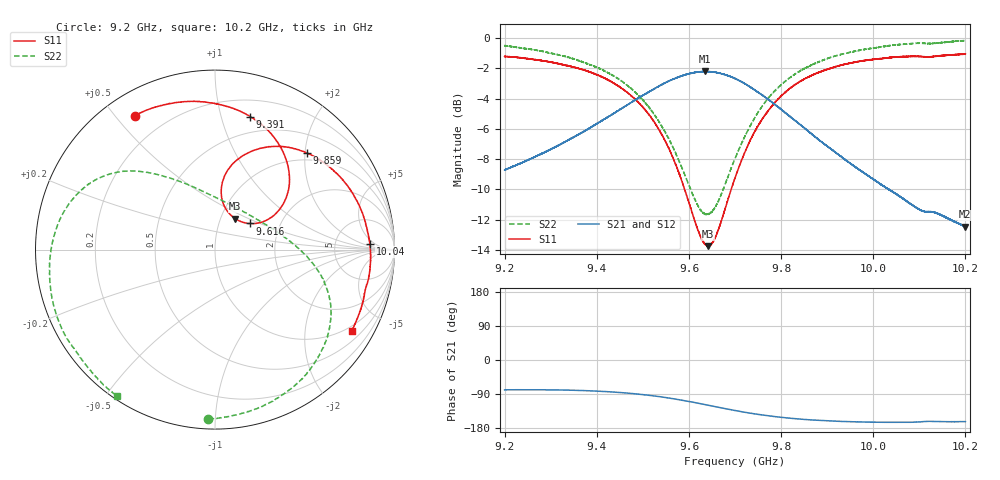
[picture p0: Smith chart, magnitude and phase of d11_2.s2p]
!Agilent Technologies,N5242A,MY51221714,A.09.90.19
!Agilent N5242A: A.09.90.19
!Date: Saturday, March 16, 2024 08:49:34
!Correction: S11(Full 2 Port(1,2))
!S21(Full 2 Port(1,2))
!S12(Full 2 Port(1,2))
!S22(Full 2 Port(1,2))
!S2P File: Measurements: S11, S21, S12, S22:
# Hz S  dB  R 50
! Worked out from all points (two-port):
!   16001 points, 9.2 GHz to 10.2 GHz, reference 50 ohm
!   highest |S21| = -2.20 dB at 9.635 GHz (marker M1); lowest = -12.5 dB at 10.2 GHz (marker M2)
!   |S21| within 3 dB of the highest: 9.425 GHz to 9.82 GHz (394.9 MHz wide, 4.1 % of centre); 9.819916 GHz to 9.819973 GHz (56.99 kHz wide, 0.00058 % of centre)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
!   lowest |S11| = -13.7 dB at 9.642 GHz (marker M3), VSWR 1.52, Z = 58.6 + j21.1 ohm
!   |S11| at or under -10 dB: 9.591 GHz to 9.692 GHz (100.9 MHz wide, 1.05 % of centre)
!   |S22| runs from -11.7 to -0.2 dB; largest |S21 - S12| = 0.0075
!   S11 on the Smith chart (normalised r, x): 9.2 GHz: 0.09, +0.56; 9.391 GHz: 0.35, +1.24; 9.616 GHz: 1.40, +0.43; 9.859 GHz: 0.85, +2.05; 10.04 GHz: 13, +3; 10.2 GHz: 0.82, -3.45
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9.2e9  -1.21 120.8  -8.71 -78.8  -8.71 -79.2  -0.49 -92.2
9.277688e9  -1.47 103.0  -7.67 -78.6  -7.66 -79.1  -0.85 -71.0
9.366688e9  -2.07 81.4  -6.26 -80.6  -6.24 -81.0  -1.53 -47.8
9.390562e9  -2.32 75.2  -5.83 -81.6  -5.82 -82.0  -1.82 -41.7
9.468812e9  -3.66 54.1  -4.37 -87.6  -4.36 -88.0  -3.18 -23.0
9.533375e9  -5.96 37.1  -3.20 -96.2  -3.20 -96.6  -5.43 -6.5
9.578438e9  -8.94 29.7  -2.56 -104.7  -2.55 -105.2  -8.10 10.2
9.615938e9  -12.34 37.1  -2.25 -113.1  -2.25 -113.6  -10.84 36.4
9.635e9  -13.62 50.7  -2.20 -117.6  -2.20 -118.1  -11.61 57.2
9.641812e9  -13.74 56.9  -2.21 -119.3  -2.20 -119.8  -11.64 64.8
9.66075e9  -12.91 72.7  -2.28 -124.0  -2.28 -124.4  -10.96 85.6
9.7e9  -9.25 84.0  -2.67 -133.2  -2.65 -133.7  -7.96 113.7
9.73625e9  -6.57 79.5  -3.30 -140.8  -3.29 -141.4  -5.62 127.2
9.78175e9  -4.42 67.9  -4.27 -148.6  -4.28 -149.2  -3.64 138.4
9.859e9  -2.57 46.3  -6.15 -157.6  -6.14 -158.0  -1.87 154.5
9.866688e9  -2.46 44.2  -6.35 -158.2  -6.34 -158.6  -1.77 156.1
9.951188e9  -1.65 22.5  -8.30 -162.8  -8.30 -163.2  -0.92 174.7
1.003338e10  -1.30 3.3  -9.99 -164.4  -9.98 -164.8  -0.50 -165.8
1.003825e10  -1.27 2.2  -10.08 -164.4  -10.08 -164.9  -0.49 -164.6
1.01055e10  -1.22 -12.5  -11.40 -162.9  -11.39 -163.3  -0.34 -148.3
1.019994e10  -1.06 -30.9  -12.45 -162.7  -12.45 -163.1  -0.15 -123.7
1.02e10  -1.05 -30.8  -12.45 -162.7  -12.43 -163.1  -0.16 -123.7
